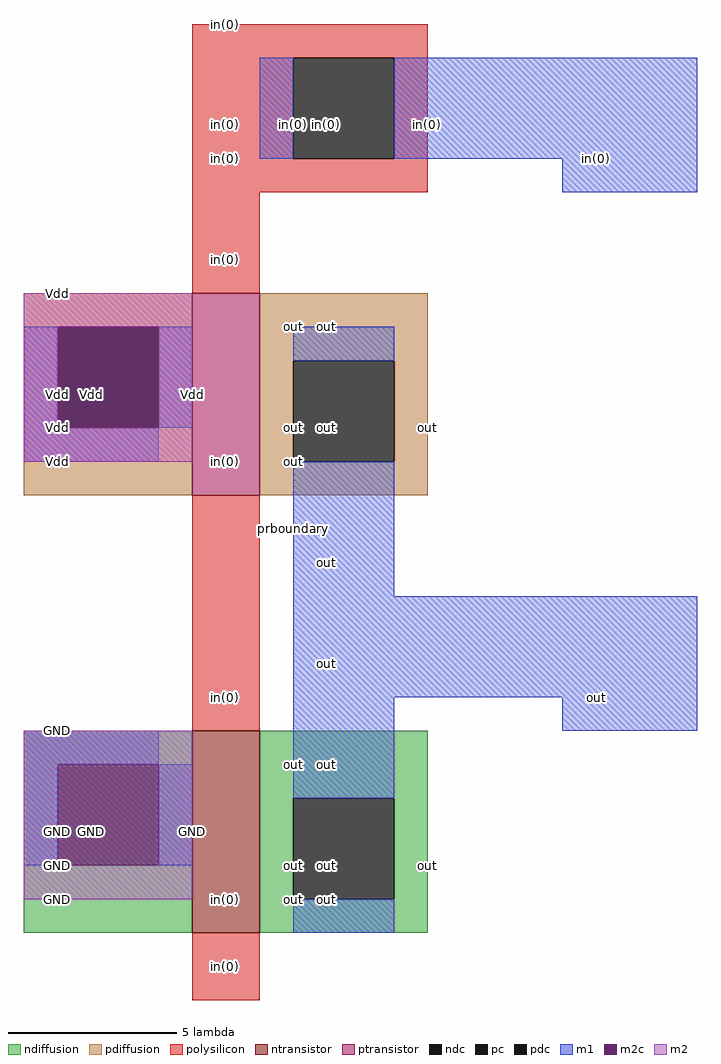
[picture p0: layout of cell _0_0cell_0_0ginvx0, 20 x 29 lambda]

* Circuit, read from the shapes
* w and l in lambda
.subckt _0_0cell_0_0ginvx0 in(0) out
M1 out in(0) GND VSUBS nfet w=6 l=2
M2 out in(0) Vdd NWELL pfet w=6 l=2
.ends

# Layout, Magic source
magic
tech sky130l
<< ndiffusion >>
rect 8 11 13 12
rect 8 8 9 11
rect 12 8 13 11
rect 8 6 13 8
rect 15 10 20 12
rect 15 7 16 10
rect 19 7 20 10
rect 15 6 20 7
<< ndc >>
rect 9 8 12 11
rect 16 7 19 10
<< ntransistor >>
rect 13 6 15 12
<< pdiffusion >>
rect 8 24 13 25
rect 8 21 9 24
rect 12 21 13 24
rect 8 19 13 21
rect 15 23 20 25
rect 15 20 16 23
rect 19 20 20 23
rect 15 19 20 20
<< pdc >>
rect 9 21 12 24
rect 16 20 19 23
<< ptransistor >>
rect 13 19 15 25
<< polysilicon >>
rect 13 32 20 33
rect 13 29 16 32
rect 19 29 20 32
rect 13 28 20 29
rect 13 25 15 28
rect 13 12 15 19
rect 13 4 15 6
<< pc >>
rect 16 29 19 32
<< m1 >>
rect 15 29 16 32
rect 19 29 28 32
rect 24 28 28 29
rect 8 21 9 24
rect 12 21 13 24
rect 16 23 19 24
rect 8 20 12 21
rect 16 16 19 20
rect 16 13 28 16
rect 8 11 12 12
rect 8 8 9 11
rect 12 8 13 11
rect 16 10 19 13
rect 24 12 28 13
rect 16 6 19 7
<< m2c >>
rect 9 21 12 24
<< m2 >>
rect 8 24 13 25
rect 8 21 9 24
rect 12 21 13 24
rect 8 20 13 21
rect 8 7 13 12
<< labels >>
rlabel space 0 0 32 36 6 prboundary
rlabel ndiffusion 20 8 20 8 3 out
rlabel pdiffusion 20 21 20 21 3 out
rlabel ndiffusion 16 7 16 7 3 out
rlabel ndiffusion 16 8 16 8 3 out
rlabel ndiffusion 16 11 16 11 3 out
rlabel pdiffusion 16 20 16 20 3 out
rlabel pdiffusion 16 21 16 21 3 out
rlabel pdiffusion 16 24 16 24 3 out
rlabel polysilicon 14 5 14 5 3 in(0)
rlabel ntransistor 14 7 14 7 3 in(0)
rlabel polysilicon 14 13 14 13 3 in(0)
rlabel ptransistor 14 20 14 20 3 in(0)
rlabel polysilicon 14 26 14 26 3 in(0)
rlabel polysilicon 14 29 14 29 3 in(0)
rlabel polysilicon 14 30 14 30 3 in(0)
rlabel polysilicon 14 33 14 33 3 in(0)
rlabel ndiffusion 9 7 9 7 3 GND
rlabel pdiffusion 9 20 9 20 3 Vdd
rlabel m1 25 29 25 29 3 in(0)
port 1 e
rlabel m1 20 30 20 30 3 in(0)
port 1 e
rlabel m1 17 11 17 11 3 out
port 2 e
rlabel m1 17 14 17 14 3 out
port 2 e
rlabel m1 17 17 17 17 3 out
port 2 e
rlabel pdc 17 21 17 21 3 out
port 2 e
rlabel m1 17 24 17 24 3 out
port 2 e
rlabel pc 17 30 17 30 3 in(0)
port 1 e
rlabel m1 25 13 25 13 3 out
port 2 e
rlabel m1 16 30 16 30 3 in(0)
port 1 e
rlabel m1 17 7 17 7 3 out
port 2 e
rlabel ndc 17 8 17 8 3 out
port 2 e
rlabel m1 13 9 13 9 3 GND
rlabel ndc 10 9 10 9 3 GND
rlabel m1 9 9 9 9 3 GND
rlabel m1 9 12 9 12 3 GND
rlabel m2 13 22 13 22 3 Vdd
rlabel m2c 10 22 10 22 3 Vdd
rlabel m2 9 8 9 8 3 GND
rlabel m2 9 21 9 21 3 Vdd
rlabel m2 9 22 9 22 3 Vdd
rlabel m2 9 25 9 25 3 Vdd
<< end >>
